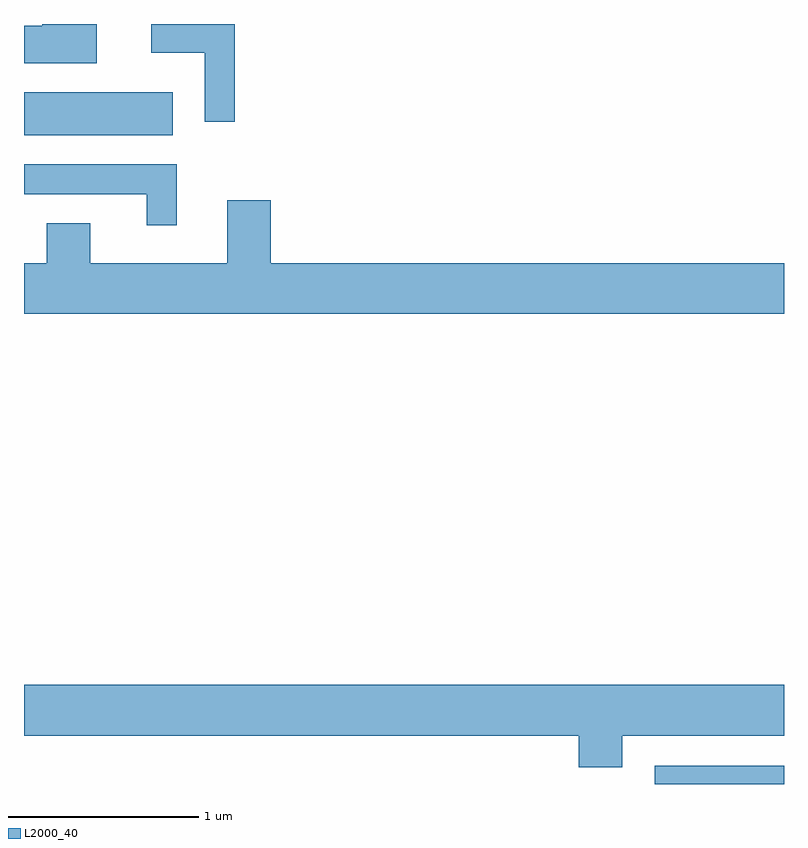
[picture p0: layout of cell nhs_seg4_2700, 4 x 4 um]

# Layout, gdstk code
import gdstk
lib = gdstk.Library(unit=1e-6, precision=1e-09)
def R(c, l, rs):  # rectangles x0, y0, x1, y1
    for r in rs: c.add(gdstk.rectangle(r[:2], r[2:], *l))
def P(c, l, *ps):  # polygons
    for p in ps: c.add(gdstk.Polygon(p, *l))
L2000_40 = (2000, 40)

nhs_seg4_2700 = lib.new_cell('nhs_seg4_2700')
R(nhs_seg4_2700, L2000_40, [(266.931,1349.982,267.611,1350.079), (263.611,1353.396,264.394,1353.624)])
P(nhs_seg4_2700, L2000_40, [(264.719,1353.982),(264.281,1353.982),(264.281,1353.831),(264.561,1353.831),(264.561,1353.468),(264.719,1353.468)],
  [(263.994,1353.982),(263.706,1353.982),(263.706,1353.974),(263.611,1353.974),(263.611,1353.776),(263.994,1353.776)],
  [(264.414,1353.244),(263.611,1353.244),(263.611,1353.086),(264.256,1353.086),(264.256,1352.923),(264.414,1352.923)],
  [(267.611,1352.724),(264.909,1352.724),(264.909,1353.054),(264.681,1353.054),(264.681,1352.724),(263.959,1352.724),(263.959,1352.934),(263.731,1352.934),(263.731,1352.724),(263.611,1352.724),(263.611,1352.456),(267.611,1352.456)],
  [(266.759,1350.236),(267.611,1350.236),(267.611,1350.504),(263.611,1350.504),(263.611,1350.236),(266.531,1350.236),(266.531,1350.071),(266.759,1350.071)])

lib.write_gds('nhs_seg4_2700.gds')
